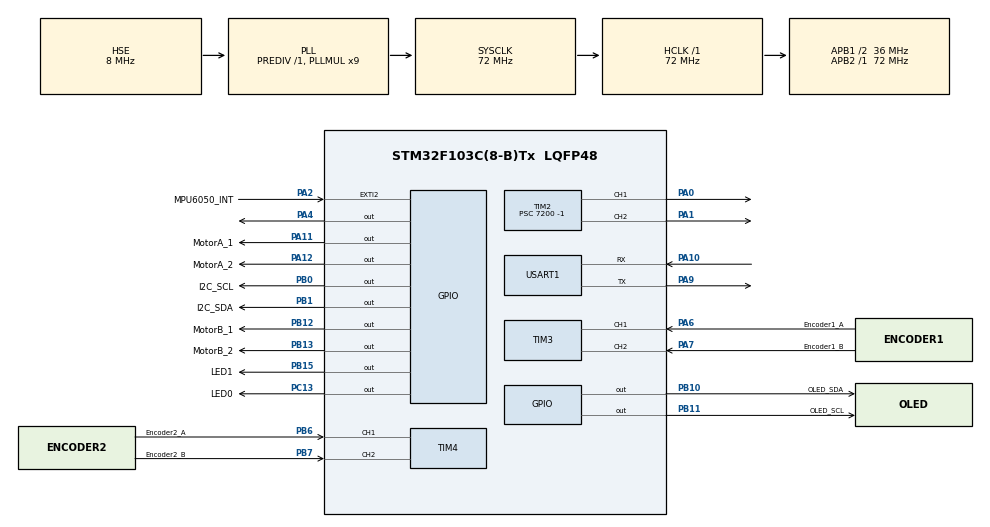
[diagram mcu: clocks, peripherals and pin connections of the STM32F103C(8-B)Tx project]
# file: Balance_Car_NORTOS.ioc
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Mcu.Family=STM32F1
Mcu.Name=STM32F103C(8-B)Tx
Mcu.Package=LQFP48
NVIC.EXTI2_IRQn=true\:0\:0\:false\:false\:true\:true\:true\:true
NVIC.PriorityGroup=NVIC_PRIORITYGROUP_4
NVIC.TIM2_IRQn=true\:1\:0\:true\:false\:true\:true\:true\:true
PA0-WKUP.Signal=S_TIM2_CH1_ETR
PA1.Signal=S_TIM2_CH2
PA10.Mode=Asynchronous
PA10.Signal=USART1_RX
PA11.GPIO_Label=MotorA_1
PA11.Signal=GPIO_Output
PA12.GPIO_Label=MotorA_2
PA12.Signal=GPIO_Output
PA13.Mode=Serial_Wire
PA13.Signal=SYS_JTMS-SWDIO
PA14.Mode=Serial_Wire
PA14.Signal=SYS_JTCK-SWCLK
PA2.GPIO_Label=MPU6050_INT
PA2.GPIO_ModeDefaultEXTI=GPIO_MODE_IT_FALLING
PA2.GPIO_PuPd=GPIO_PULLUP
PA2.Signal=GPXTI2
PA4.Signal=GPIO_Output
PA6.GPIO_Label=Encoder1_A
PA6.Signal=S_TIM3_CH1
PA7.GPIO_Label=Encoder1_B
PA7.Signal=S_TIM3_CH2
PA9.Mode=Asynchronous
PA9.Signal=USART1_TX
PB0.GPIO_Label=I2C_SCL
PB0.GPIO_Speed=GPIO_SPEED_FREQ_HIGH
PB0.PinState=GPIO_PIN_SET
PB0.Signal=GPIO_Output
PB1.GPIO_Label=I2C_SDA
PB1.GPIO_ModeDefaultOutputPP=GPIO_MODE_OUTPUT_OD
PB1.GPIO_PuPd=GPIO_PULLUP
PB1.GPIO_Speed=GPIO_SPEED_FREQ_HIGH
PB1.PinState=GPIO_PIN_SET
PB1.Signal=GPIO_Output
PB10.GPIO_Label=OLED_SDA
PB10.GPIO_ModeDefaultOutputPP=GPIO_MODE_OUTPUT_OD
PB10.GPIO_PuPd=GPIO_PULLUP
PB10.Signal=GPIO_Output
PB11.GPIO_Label=OLED_SCL
PB11.Signal=GPIO_Output
PB12.GPIO_Label=MotorB_1
PB12.Signal=GPIO_Output
PB13.GPIO_Label=MotorB_2
PB13.Signal=GPIO_Output
PB15.GPIO_Label=LED1
PB15.Signal=GPIO_Output
PB6.GPIO_Label=Encoder2_A
PB6.Signal=S_TIM4_CH1
PB7.GPIO_Label=Encoder2_B
PB7.Signal=S_TIM4_CH2
PC13-TAMPER-RTC.GPIO_Label=LED0
PC13-TAMPER-RTC.Signal=GPIO_Output
PD0-OSC_IN.Mode=HSE-External-Oscillator
PD0-OSC_IN.Signal=RCC_OSC_IN
PD1-OSC_OUT.Mode=HSE-External-Oscillator
PD1-OSC_OUT.Signal=RCC_OSC_OUT
ProjectManager.HeapSize=0x200
ProjectManager.StackSize=0x400
ProjectManager.TargetToolchain=SW4STM32
RCC.AHBFreq_Value=72000000
RCC.APB1CLKDivider=RCC_HCLK_DIV2
RCC.APB1Freq_Value=36000000
RCC.APB1TimFreq_Value=72000000
RCC.APB2Freq_Value=72000000
RCC.APB2TimFreq_Value=72000000
RCC.HCLKFreq_Value=72000000
RCC.PLLMUL=RCC_PLL_MUL9
RCC.PLLSourceVirtual=RCC_PLLSOURCE_HSE
RCC.SYSCLKFreq_VALUE=72000000
RCC.SYSCLKSource=RCC_SYSCLKSOURCE_PLLCLK
RCC.USBFreq_Value=72000000
SH.S_TIM2_CH1_ETR.0=TIM2_CH1,PWM Generation1 CH1
SH.S_TIM2_CH2.0=TIM2_CH2,PWM Generation2 CH2
SH.S_TIM3_CH1.0=TIM3_CH1,Encoder_Interface
SH.S_TIM3_CH2.0=TIM3_CH2,Encoder_Interface
SH.S_TIM4_CH1.0=TIM4_CH1,Encoder_Interface
SH.S_TIM4_CH2.0=TIM4_CH2,Encoder_Interface
TIM2.Channel-PWM\ Generation1\ CH1=TIM_CHANNEL_1
TIM2.Channel-PWM\ Generation2\ CH2=TIM_CHANNEL_2
TIM2.Period=100 -1
TIM2.Prescaler=7200 -1
USART1.VirtualMode=VM_ASYNC
VP_TIM2_VS_ClockSourceINT.Mode=Internal
board=custom

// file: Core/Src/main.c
/* USER CODE BEGIN Header */
/**
  ******************************************************************************
  * @file           : main.c
  * @brief          : Main program body
  ******************************************************************************
  * @attention
  *
  * Copyright (c) 2023 STMicroelectronics.
  * All rights reserved.
  *
  * This software is licensed under terms that can be found in the LICENSE file
  * in the root directory of this software component.
  * If no LICENSE file comes with this software, it is provided AS-IS.
  *
  ******************************************************************************
  */
/* USER CODE END Header */
#include "main.h"
#include "tim.h"
#include "usart.h"
#include "gpio.h"

/* USER CODE BEGIN Includes */
#include "retarget.h"
#include "usart.h"
#include "OLED.h"
#include "Motor.h"
#include "Encoder.h"
#include "inv_mpu_dmp_motion_driver.h"
#include "inv_mpu.h"
#include "MPU6050.h"
#include "Control.h"
#include "stdio.h"
/* USER CODE END Includes */

/* USER CODE BEGIN PD */
#define MECHANICALMEDIAN (-1)   //平衡车的机械中�?�为4
/* USER CODE END PD */

void SystemClock_Config(void);

/* USER CODE BEGIN 0 */
MOTOR Motor1,Motor2;
ENCODER Encoder1,Encoder2;
PID_PARAMETER PID_Vertical,PID_Speed,PID_Turn;
float Mpu_Pitch,Mpu_Roll,Mpu_Yaw;
int16_t i = 0;
short gyrox,gyroy,gyroz;	//�??螺仪--角�?�度
/* USER CODE END 0 */

int main(void)
{
  /* USER CODE BEGIN 1 */
    uint16_t j = 0;
  /* USER CODE END 1 */

  /* MCU Configuration--------------------------------------------------------*/

  /* Reset of all peripherals, Initializes the Flash interface and the Systick. */
  HAL_Init();

  /* Configure the system clock */
  SystemClock_Config();

  /* Initialize all configured peripherals */
  MX_GPIO_Init();
  MX_TIM2_Init();
  MX_TIM3_Init();
  MX_TIM4_Init();
  MX_USART1_UART_Init();
  /* USER CODE BEGIN 2 */
    RetargetInit(&huart1);
    OLED_Init();
    HAL_TIM_Base_Start_IT(&htim2);
    Motor_Init(&Motor1,"BalanceMoror1",MOTORA,&htim2,TIM_CHANNEL_1);
    Motor_Init(&Motor2,"BalanceMoror2",MOTORB,&htim2,TIM_CHANNEL_2);
    Encoder_Init(&Encoder1,&htim3);
    Encoder_Init(&Encoder2,&htim4);
    PID_Init(&PID_Vertical,MECHANICALMEDIAN,(float)1.5,(float)0,(float)-0.0075); //直立�??
    PID_Init(&PID_Speed,0,(float)0.25,(float)0.00125,(float)0);
    PID_Init(&PID_Turn,0,(float)0,(float)0,(float)0);
    mpu_dmp_init();
  /* USER CODE END 2 */

  /* Infinite loop */
  while (1)
  {

    /* USER CODE BEGIN 3 */
      //printf("ssss\r\n");
      while(mpu_dmp_get_data(&Mpu_Pitch,&Mpu_Roll,&Mpu_Yaw)!=0);
      while(MPU_Get_Gyroscope(&gyrox,&gyroy,&gyroz)!=0);
      Mpu_Pitch = -Mpu_Pitch;
      OLED_ShowString(3,1,"Pitch:");
      OLED_ShowString(1,1,"Speed1:");
      OLED_Float(1,10,Encoder1.EncoderSpeed,1);
      OLED_Float(3,10,Mpu_Pitch,1);
      OLED_ShowString(2,1,"YAW:");
      OLED_Float(2,6,Mpu_Yaw,1);
      OLED_ShowString(4,1,"Gyroy:");
      if(j++>=7)
      {
          OLED_Float(4,7,gyroy/20,1);
          j = 0;
      }
      //Set_MotorSpeed(&Motor1,50);
      //HAL_Delay(1000);
  }
  /* USER CODE END 3 */
}

void SystemClock_Config(void)
{
  RCC_OscInitTypeDef RCC_OscInitStruct = {0};
  RCC_ClkInitTypeDef RCC_ClkInitStruct = {0};

  /** Initializes the RCC Oscillators according to the specified parameters
  * in the RCC_OscInitTypeDef structure.
  */
  RCC_OscInitStruct.OscillatorType = RCC_OSCILLATORTYPE_HSE;
  RCC_OscInitStruct.HSEState = RCC_HSE_ON;
  RCC_OscInitStruct.HSEPredivValue = RCC_HSE_PREDIV_DIV1;
  RCC_OscInitStruct.HSIState = RCC_HSI_ON;
  RCC_OscInitStruct.PLL.PLLState = RCC_PLL_ON;
  RCC_OscInitStruct.PLL.PLLSource = RCC_PLLSOURCE_HSE;
  RCC_OscInitStruct.PLL.PLLMUL = RCC_PLL_MUL9;
  if (HAL_RCC_OscConfig(&RCC_OscInitStruct) != HAL_OK)
  {
    Error_Handler();
  }

  /** Initializes the CPU, AHB and APB buses clocks
  */
  RCC_ClkInitStruct.ClockType = RCC_CLOCKTYPE_HCLK|RCC_CLOCKTYPE_SYSCLK
                              |RCC_CLOCKTYPE_PCLK1|RCC_CLOCKTYPE_PCLK2;
  RCC_ClkInitStruct.SYSCLKSource = RCC_SYSCLKSOURCE_PLLCLK;
  RCC_ClkInitStruct.AHBCLKDivider = RCC_SYSCLK_DIV1;
  RCC_ClkInitStruct.APB1CLKDivider = RCC_HCLK_DIV2;
  RCC_ClkInitStruct.APB2CLKDivider = RCC_HCLK_DIV1;

  if (HAL_RCC_ClockConfig(&RCC_ClkInitStruct, FLASH_LATENCY_2) != HAL_OK)
  {
    Error_Handler();
  }
}

/* USER CODE BEGIN 4 */
//0.01s进一次中�??????
void HAL_TIM_PeriodElapsedCallback(TIM_HandleTypeDef *htim)
{
    static uint8_t i = 0;
    if(htim->Instance == TIM2)
    {
        if(i++>=5)
        {
            Encoder1.EncoderSpeed = __HAL_TIM_GET_COUNTER(&Encoder1.htim);
            Encoder2.EncoderSpeed = __HAL_TIM_GET_COUNTER(&Encoder2.htim);
            Encoder2.EncoderSpeed = -Encoder2.EncoderSpeed; //这里加个'-'号就是为了让电机二在正转时编码器读到的是正数
            __HAL_TIM_SET_COUNTER(&Encoder1.htim,0);
            __HAL_TIM_SET_COUNTER(&Encoder2.htim,0);

//            Encoder1.EncoderSpeed = __HAL_TIM_GET_COUNTER(&Encoder1.htim);
//            Encoder2.EncoderSpeed = __HAL_TIM_GET_COUNTER(&Encoder2.htim);
//            __HAL_TIM_SET_COUNTER(&Encoder1.htim,0);
//            __HAL_TIM_SET_COUNTER(&Encoder2.htim,0);
//            Motor1.Speed = PID_VerticalControl(PID_Vertical,Mpu_Pitch,gyroy/20.0);
//            Motor2.Speed = Motor1.Speed;
//            Limit_MotorSpeed(&Motor1);
//            Limit_MotorSpeed(&Motor2);
            //Set_MotorSpeed(&Motor1,Motor1.Speed);
            //Set_MotorSpeed(&Motor2,Motor2.Speed);
            //HAL_GPIO_TogglePin(LED0_GPIO_Port,LED0_Pin);
            i = 0;
        }
    }
}

void HAL_GPIO_EXTI_Callback(uint16_t GPIO_Pin)
{
    //HAL_GPIO_TogglePin(LED0_GPIO_Port,LED0_Pin);
    static float Balance_PWM = 0,Velocity_PWM = 0,Turn_PWM = 0,PWM_Out;
    if(GPIO_Pin == MPU6050_INT_Pin) //一级判定
    {
        if(HAL_GPIO_ReadPin(MPU6050_INT_GPIO_Port,MPU6050_INT_Pin) == 0)  //二级判定
        {

            Balance_PWM = PID_VerticalControl(PID_Vertical,Mpu_Pitch,gyroy); //平衡环PID
            Velocity_PWM = PID_SpeedControl(PID_Speed,Encoder1.EncoderSpeed,Encoder2.EncoderSpeed);//速度环PID
            //Turn_PWM = PID_TurnControl(PID_Turn,Mpu_Yaw); //转向环PID

            PWM_Out = Balance_PWM+PID_Vertical.Kp*Velocity_PWM;
            Motor1.Speed = PWM_Out+Turn_PWM;
            Motor2.Speed = PWM_Out-Turn_PWM;
            Limit_MotorSpeed(&Motor1);
            Limit_MotorSpeed(&Motor2);
            Set_MotorSpeed(&Motor1,Motor1.Speed);
            Set_MotorSpeed(&Motor2,Motor2.Speed);
            HAL_GPIO_TogglePin(LED0_GPIO_Port,LED0_Pin);
        }
    }
}
/* USER CODE END 4 */

void Error_Handler(void)
{
  __disable_irq();
  while (1)
  {
  }
}
